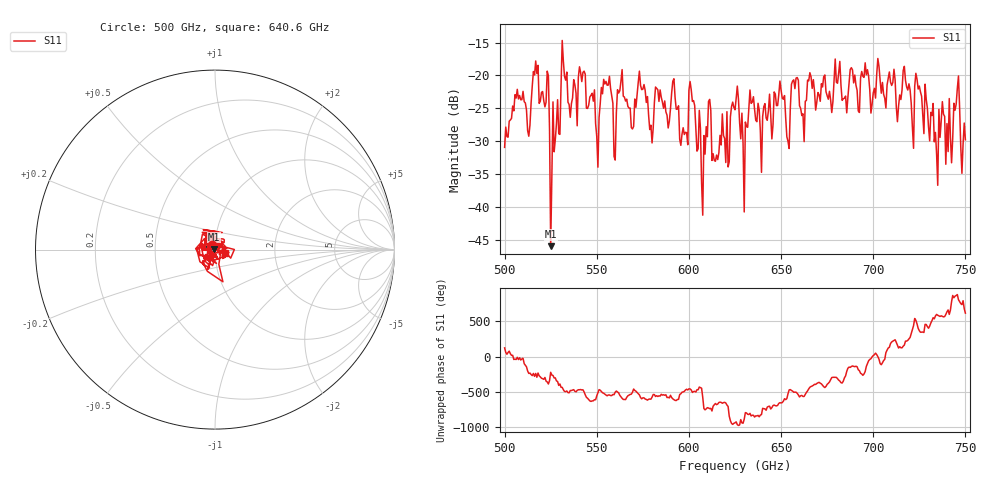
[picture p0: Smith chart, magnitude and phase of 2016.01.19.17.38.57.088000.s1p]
!Created with skrf (http://scikit-rf.org).
# GHz S RI R 50.0
!freq ReS11 ImS11
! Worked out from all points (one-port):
!   401 points, 500 GHz to 750 GHz, reference 50 ohm
!   lowest |S11| = -46.0 dB at 525 GHz (marker M1), VSWR 1.01, Z = 49.6 + j0.343 ohm
!   |S11| at or under -10 dB: start of sweep to end of sweep
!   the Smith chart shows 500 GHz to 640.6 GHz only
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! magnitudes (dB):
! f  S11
! 500 GHz  -30.9
! 506.9 GHz  -22.1
! 513.1 GHz  -29.2
! 516.9 GHz  -17.8
! 525 GHz  -46.0
! 531.2 GHz  -14.7
! 542.5 GHz  -19.5
! 550.6 GHz  -34.0
! 553.8 GHz  -20.6
! 559.4 GHz  -32.3
! 562.5 GHz  -22.3
! 593.8 GHz  -25.1
! 598.1 GHz  -28.6
! 601.2 GHz  -22.2
! 607.5 GHz  -41.2
! 610.6 GHz  -24.0
! 615 GHz  -32.1
! 625 GHz  -25.2
! 630.6 GHz  -27.1
! 633.8 GHz  -24.2
! 650.6 GHz  -23.4
! 653.8 GHz  -30.0
! 656.2 GHz  -20.8
! 687.5 GHz  -19.1
! 718.8 GHz  -22.2
! 734.4 GHz  -31.9
! 745 GHz  -24.4
! 750 GHz  -29.8
